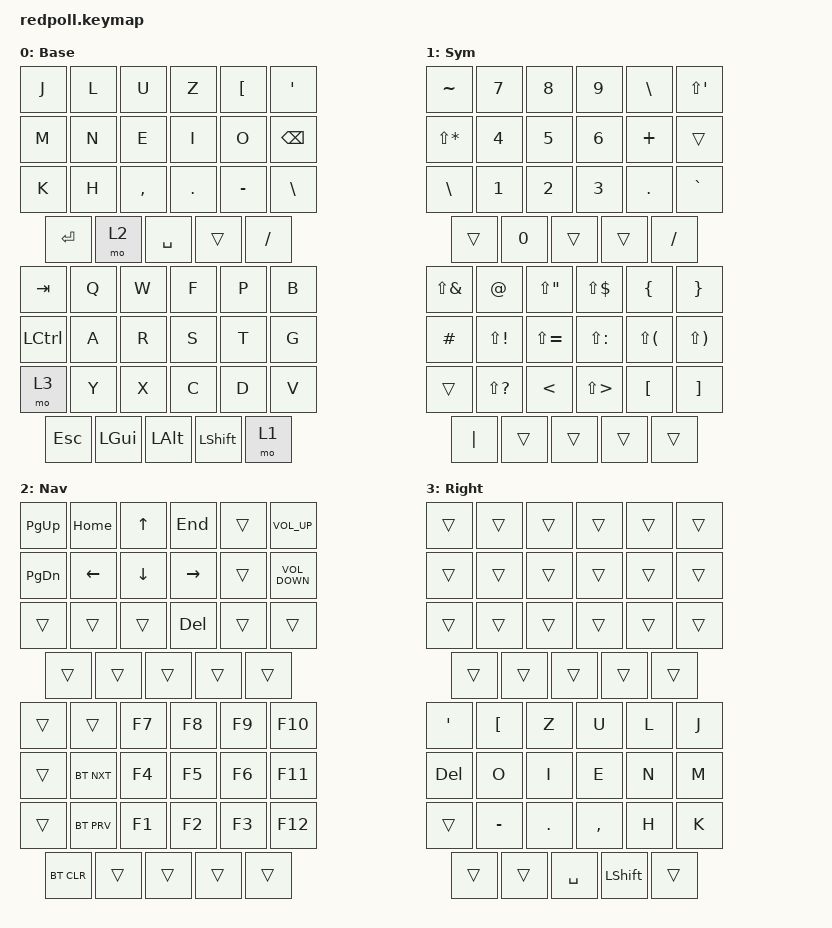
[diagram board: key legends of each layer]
/*
 * build firmware locally:
 *   cd github/zmk/app
 *   west build -b nice_nano_v2 -- -DSHIELD=redpoll
     ;; reset controller
 *   cp build/zephyr/zmk.uf2 /media/.../NICENANO/
 */

#include <behaviors.dtsi>
#include <dt-bindings/zmk/bt.h>
#include <dt-bindings/zmk/keys.h>

/ {
    combos {
        compatible = "zmk,combos";

        OE {
            bindings = <&kp SEMICOLON>;
            key-positions = <3 4>;
        };
    };

    keymap {
        compatible = "zmk,keymap";

        base {
            bindings = <
                                                                     &kp J    &kp L  &kp U      &kp Z    &kp LBKT   &kp APOS
                                                                     &kp M    &kp N  &kp E      &kp I    &kp O      &kp BSPC
                                                                     &kp K    &kp H  &kp COMMA  &kp DOT  &kp MINUS  &kp BSLH
                                                                     &kp RET  &mo 2  &kp SPACE  &trans   &kp FSLH
&kp TAB    &kp Q       &kp W         &kp F         &kp P      &kp B
&kp LCTRL  &kp A       &kp R         &kp S         &kp T      &kp G
&mo 3      &kp Y       &kp X         &kp C         &kp D      &kp V
           &kp ESCAPE  &kp LEFT_GUI  &kp LEFT_ALT  &kp LSHFT  &mo 1
            >;

            label = "Base";
        };

        sym {
            bindings = <
                                                                                       &kp TILDE     &kp N7  &kp N8  &kp N9  &kp BSLH  &kp LS(SQT)
                                                                                       &kp LS(STAR)  &kp N4  &kp N5  &kp N6  &kp PLUS  &trans
                                                                                       &kp BSLH      &kp N1  &kp N2  &kp N3  &kp DOT   &kp GRAVE
                                                                                       &trans        &kp N0  &trans  &trans  &kp FSLH
&kp LS(AMPS)  &kp AT         &kp LS(DQT)    &kp LS(DLLR)   &kp LBRC      &kp RBRC
&kp POUND     &kp LS(EXCL)   &kp LS(EQUAL)  &kp LS(COLON)  &kp LS(LPAR)  &kp LS(RPAR)
&trans        &kp LS(QMARK)  &kp LT         &kp LS(GT)     &kp LBKT      &kp RBKT
              &kp PIPE       &trans         &trans         &trans        &trans
            >;

            label = "Sym";
        };

        nav {
            bindings = <
                                                     &kp PG_UP  &kp HOME  &kp UP    &kp END    &trans  &kp K_VOLUME_UP
                                                     &kp PG_DN  &kp LEFT  &kp DOWN  &kp RIGHT  &trans  &kp K_VOLUME_DOWN
                                                     &trans     &trans    &trans    &kp DEL    &trans  &trans
                                                     &trans     &trans    &trans    &trans     &trans
&trans  &trans      &kp F7  &kp F8  &kp F9  &kp F10
&trans  &bt BT_NXT  &kp F4  &kp F5  &kp F6  &kp F11
&trans  &bt BT_PRV  &kp F1  &kp F2  &kp F3  &kp F12
        &bt BT_CLR  &trans  &trans  &trans  &trans
            >;

            label = "Nav";
        };

        right {
            bindings = <
                                                            &trans  &trans  &trans  &trans  &trans  &trans
                                                            &trans  &trans  &trans  &trans  &trans  &trans
                                                            &trans  &trans  &trans  &trans  &trans  &trans
                                                            &trans  &trans  &trans  &trans  &trans
&kp APOS  &kp LBKT   &kp Z    &kp U      &kp L      &kp J
&kp DEL   &kp O      &kp I    &kp E      &kp N      &kp M
&trans    &kp MINUS  &kp DOT  &kp COMMA  &kp H      &kp K
          &trans     &trans   &kp SPACE  &kp LSHFT  &trans
            >;

            label = "Right";
        };
    };
};
